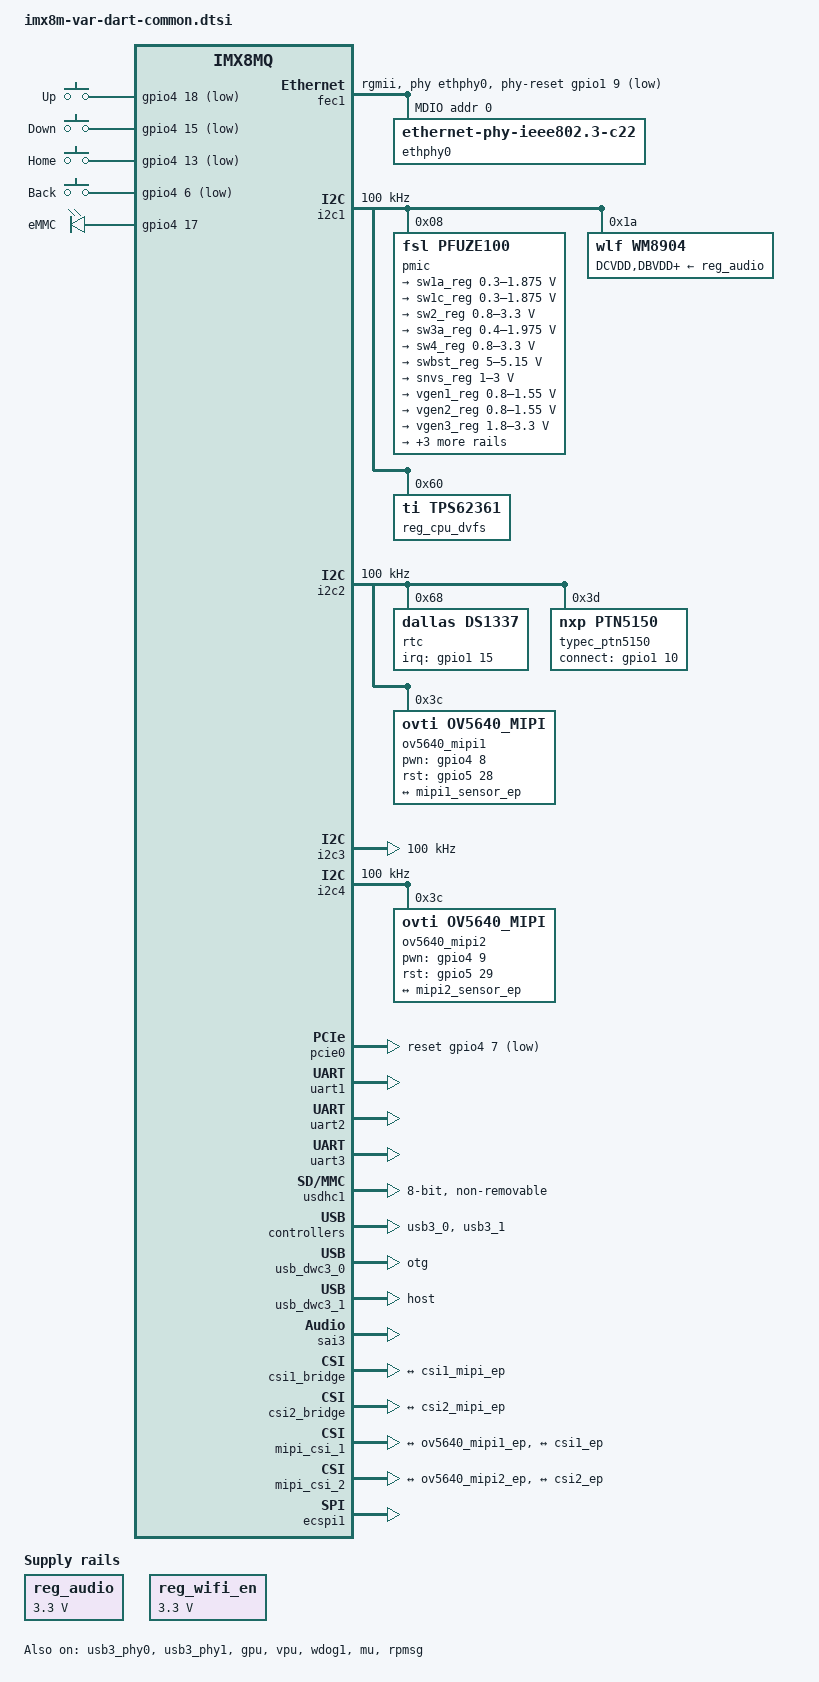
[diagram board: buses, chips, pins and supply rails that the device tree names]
/*
 * Copyright 2017 NXP
 * Copyright 2018-2019 Variscite Ltd.
 *
 * This program is free software; you can redistribute it and/or
 * modify it under the terms of the GNU General Public License
 * as published by the Free Software Foundation; either version 2
 * of the License, or (at your option) any later version.
 *
 * This program is distributed in the hope that it will be useful,
 * but WITHOUT ANY WARRANTY; without even the implied warranty of
 * MERCHANTABILITY or FITNESS FOR A PARTICULAR PURPOSE.  See the
 * GNU General Public License for more details.
 */

/dts-v1/;

#include "../freescale/fsl-imx8mq.dtsi"

/ {
	compatible = "variscite,imx8m-dart", "fsl,imx8mq";

	chosen {
		bootargs = "console=ttymxc0,115200 earlycon=ec_imx6q,0x30860000,115200";
		stdout-path = &uart1;
	};

	regulators {
		compatible = "simple-bus";
		#address-cells = <1>;
		#size-cells = <0>;

		reg_audio: audio_vdd {
			compatible = "regulator-fixed";
			regulator-name = "wm8904_supply";
			regulator-min-microvolt = <3300000>;
			regulator-max-microvolt = <3300000>;
			regulator-always-on;
		};

		reg_wifi_en: wifi_en {
			compatible = "regulator-fixed";
			regulator-name = "WIFI_REG_ON";
			regulator-min-microvolt = <3300000>;
			regulator-max-microvolt = <3300000>;
		};
	};

	sound-wm8904 {
		compatible = "fsl,imx-audio-wm8904";
		model = "imx-wm8904";
		audio-cpu = <&sai3>;
		audio-codec = <&wm8904>;
		audio-routing =
			"Headphone Jack", "HPOUTL",
			"Headphone Jack", "HPOUTR",
			"IN2L", "Line In Jack",
			"IN2R", "Line In Jack",
			"IN1L", "Mic Jack",
			"Playback", "CPU-Playback",
			"CPU-Capture", "Capture";
		status = "okay";
        };

	sound-hdmi {
		compatible = "fsl,imx8mq-evk-cdnhdmi",
				"fsl,imx-audio-cdnhdmi";
		model = "imx-audio-hdmi";
		audio-cpu = <&sai4>;
		protocol = <1>;
		hdmi-out;
		constraint-rate = <44100>,
				<88200>,
				<176400>,
				<32000>,
				<48000>,
				<96000>,
				<192000>;
		status = "disabled";
	};

	sound-spdif {
		compatible = "fsl,imx-audio-spdif";
		model = "imx-spdif";
		spdif-controller = <&spdif1>;
		spdif-out;
		spdif-in;
		status = "disabled";
	};

	sound-hdmi-arc {
		compatible = "fsl,imx-audio-spdif";
		model = "imx-hdmi-arc";
		spdif-controller = <&spdif2>;
		spdif-in;
		status = "disabled";
	};

        backlight: backlight {
                compatible = "pwm-backlight";
		pwms = <&pwm1 0 1000000 0>;
		brightness-levels = < 0  1  2  3  4  5  6  7  8  9
				     10 11 12 13 14 15 16 17 18 19
				     20 21 22 23 24 25 26 27 28 29
				     30 31 32 33 34 35 36 37 38 39
				     40 41 42 43 44 45 46 47 48 49
				     50 51 52 53 54 55 56 57 58 59
				     60 61 62 63 64 65 66 67 68 69
				     70 71 72 73 74 75 76 77 78 79
				     80 81 82 83 84 85 86 87 88 89
				     90 91 92 93 94 95 96 97 98 99
				    100>;
		default-brightness-level = <80>;
                status = "disabled";
        };

        gpio-keys {
                compatible = "gpio-keys";
                pinctrl-names = "default";
                pinctrl-0 = <&pinctrl_gpio_keys>;

                up {
                        label = "Up";
                        gpios = <&gpio4 18 GPIO_ACTIVE_LOW>;
                        linux,code = <KEY_UP>;
                };

                down {
                        label = "Down";
                        gpios = <&gpio4 15 GPIO_ACTIVE_LOW>;
                        linux,code = <KEY_DOWN>;
                };

                home {
                        label = "Home";
                        gpios = <&gpio4 13 GPIO_ACTIVE_LOW>;
                        linux,code = <KEY_HOME>;
                };

                back {
                        label = "Back";
                        gpios = <&gpio4 6 GPIO_ACTIVE_LOW>;
                        linux,code = <KEY_BACK>;
                };
        };

	leds {
		compatible = "gpio-leds";
		pinctrl-names = "default";
		pinctrl-0 = <&pinctrl_leds>;
	
		emmc {
			label = "eMMC";
			gpios = <&gpio4 17 GPIO_ACTIVE_HIGH>;
			linux,default-trigger = "mmc0";
		};
	};
};

&clk {
	assigned-clocks = <&clk IMX8MQ_AUDIO_PLL1>;
	assigned-clock-rates = <786432000>;
};

&iomuxc {
	pinctrl-names = "default";

	imx8m-var-dart {

		pinctrl_csi1: csi1grp {
			fsl,pins = <
				MX8MQ_IOMUXC_SAI1_RXD6_GPIO4_IO8		0x19
				MX8MQ_IOMUXC_UART4_RXD_GPIO5_IO28		0x19
			>;
		};

		pinctrl_csi2: csi2grp {
			fsl,pins = <
				MX8MQ_IOMUXC_SAI1_RXD7_GPIO4_IO9		0x19
				MX8MQ_IOMUXC_UART4_TXD_GPIO5_IO29		0x19
			>;
		};

		pinctrl_fec1: fec1grp {
			fsl,pins = <
				MX8MQ_IOMUXC_ENET_MDC_ENET1_MDC			0x3
				MX8MQ_IOMUXC_ENET_MDIO_ENET1_MDIO		0x23
				MX8MQ_IOMUXC_ENET_TD3_ENET1_RGMII_TD3		0x1f
				MX8MQ_IOMUXC_ENET_TD2_ENET1_RGMII_TD2		0x1f
				MX8MQ_IOMUXC_ENET_TD1_ENET1_RGMII_TD1		0x1f
				MX8MQ_IOMUXC_ENET_TD0_ENET1_RGMII_TD0		0x1f
				MX8MQ_IOMUXC_ENET_RD3_ENET1_RGMII_RD3		0x91
				MX8MQ_IOMUXC_ENET_RD2_ENET1_RGMII_RD2		0x91
				MX8MQ_IOMUXC_ENET_RD1_ENET1_RGMII_RD1		0x91
				MX8MQ_IOMUXC_ENET_RD0_ENET1_RGMII_RD0		0x91
				MX8MQ_IOMUXC_ENET_TXC_ENET1_RGMII_TXC		0x1f
				MX8MQ_IOMUXC_ENET_RXC_ENET1_RGMII_RXC		0x91
				MX8MQ_IOMUXC_ENET_RX_CTL_ENET1_RGMII_RX_CTL	0x91
				MX8MQ_IOMUXC_ENET_TX_CTL_ENET1_RGMII_TX_CTL	0x1f
				MX8MQ_IOMUXC_GPIO1_IO09_GPIO1_IO9		0x19
			>;
		};

		pinctrl_i2c1: i2c1grp {
			fsl,pins = <
				MX8MQ_IOMUXC_I2C1_SCL_I2C1_SCL			0x4000007f
				MX8MQ_IOMUXC_I2C1_SDA_I2C1_SDA			0x4000007f
			>;
		};

		pinctrl_i2c2: i2c2grp {
			fsl,pins = <
				MX8MQ_IOMUXC_I2C2_SCL_I2C2_SCL			0x4000007f
				MX8MQ_IOMUXC_I2C2_SDA_I2C2_SDA			0x4000007f
			>;
		};

		pinctrl_i2c3: i2c3grp {
			fsl,pins = <
				MX8MQ_IOMUXC_I2C3_SCL_I2C3_SCL			0x4000007f
				MX8MQ_IOMUXC_I2C3_SDA_I2C3_SDA			0x4000007f
			>;
		};

		pinctrl_i2c4: i2c4grp {
			fsl,pins = <
				MX8MQ_IOMUXC_I2C4_SCL_I2C4_SCL			0x4000007f
				MX8MQ_IOMUXC_I2C4_SDA_I2C4_SDA			0x4000007f
			>;
		};

		pinctrl_pcie0: pcie0grp {
			fsl,pins = <
				MX8MQ_IOMUXC_SAI1_RXD5_GPIO4_IO7		0x16
			>;
		};

		pinctrl_pcie1: pcie1grp {
			fsl,pins = <
				MX8MQ_IOMUXC_SAI1_TXD7_GPIO4_IO19		0x16
			>;
		};

		pinctrl_uart1: uart1grp {
			fsl,pins = <
				MX8MQ_IOMUXC_UART1_RXD_UART1_DCE_RX		0x49
				MX8MQ_IOMUXC_UART1_TXD_UART1_DCE_TX		0x49
			>;
		};

		pinctrl_uart2: uart2grp {
			fsl,pins = <
				MX8MQ_IOMUXC_UART2_RXD_UART2_DCE_RX		0x49
				MX8MQ_IOMUXC_UART2_TXD_UART2_DCE_TX		0x49
			>;
		};

		pinctrl_uart3: uart3grp {
			fsl,pins = <
				MX8MQ_IOMUXC_UART3_RXD_UART3_DCE_RX		0x49
				MX8MQ_IOMUXC_UART3_TXD_UART3_DCE_TX		0x49
			>;
		};

		pinctrl_uart4: uart4grp {
			fsl,pins = <
				MX8MQ_IOMUXC_ECSPI2_SCLK_UART4_DCE_RX           0xc1
				MX8MQ_IOMUXC_ECSPI2_MOSI_UART4_DCE_TX           0xc1
				MX8MQ_IOMUXC_ECSPI2_MISO_UART4_DCE_CTS_B        0xc1
				MX8MQ_IOMUXC_ECSPI2_SS0_UART4_DCE_RTS_B         0xc1
			>;
		};

		pinctrl_usdhc1: usdhc1grp {
			fsl,pins = <
				MX8MQ_IOMUXC_SD1_CLK_USDHC1_CLK			0x83
				MX8MQ_IOMUXC_SD1_CMD_USDHC1_CMD			0xc3
				MX8MQ_IOMUXC_SD1_DATA0_USDHC1_DATA0		0xc3
				MX8MQ_IOMUXC_SD1_DATA1_USDHC1_DATA1		0xc3
				MX8MQ_IOMUXC_SD1_DATA2_USDHC1_DATA2		0xc3
				MX8MQ_IOMUXC_SD1_DATA3_USDHC1_DATA3		0xc3
				MX8MQ_IOMUXC_SD1_DATA4_USDHC1_DATA4		0xc3
				MX8MQ_IOMUXC_SD1_DATA5_USDHC1_DATA5		0xc3
				MX8MQ_IOMUXC_SD1_DATA6_USDHC1_DATA6		0xc3
				MX8MQ_IOMUXC_SD1_DATA7_USDHC1_DATA7		0xc3
				MX8MQ_IOMUXC_SD1_STROBE_USDHC1_STROBE		0x83
				MX8MQ_IOMUXC_SD1_RESET_B_USDHC1_RESET_B		0xc1
			>;
		};

		pinctrl_usdhc1_100mhz: usdhc1grp100mhz {
			fsl,pins = <
				MX8MQ_IOMUXC_SD1_CLK_USDHC1_CLK			0x8d
				MX8MQ_IOMUXC_SD1_CMD_USDHC1_CMD			0xcd
				MX8MQ_IOMUXC_SD1_DATA0_USDHC1_DATA0		0xcd
				MX8MQ_IOMUXC_SD1_DATA1_USDHC1_DATA1		0xcd
				MX8MQ_IOMUXC_SD1_DATA2_USDHC1_DATA2		0xcd
				MX8MQ_IOMUXC_SD1_DATA3_USDHC1_DATA3		0xcd
				MX8MQ_IOMUXC_SD1_DATA4_USDHC1_DATA4		0xcd
				MX8MQ_IOMUXC_SD1_DATA5_USDHC1_DATA5		0xcd
				MX8MQ_IOMUXC_SD1_DATA6_USDHC1_DATA6		0xcd
				MX8MQ_IOMUXC_SD1_DATA7_USDHC1_DATA7		0xcd
				MX8MQ_IOMUXC_SD1_STROBE_USDHC1_STROBE		0x8d
				MX8MQ_IOMUXC_SD1_RESET_B_USDHC1_RESET_B		0xc1
			>;
		};

		pinctrl_usdhc1_200mhz: usdhc1grp200mhz {
			fsl,pins = <
				MX8MQ_IOMUXC_SD1_CLK_USDHC1_CLK			0x9f
				MX8MQ_IOMUXC_SD1_CMD_USDHC1_CMD			0xdf
				MX8MQ_IOMUXC_SD1_DATA0_USDHC1_DATA0		0xdf
				MX8MQ_IOMUXC_SD1_DATA1_USDHC1_DATA1		0xdf
				MX8MQ_IOMUXC_SD1_DATA2_USDHC1_DATA2		0xdf
				MX8MQ_IOMUXC_SD1_DATA3_USDHC1_DATA3		0xdf
				MX8MQ_IOMUXC_SD1_DATA4_USDHC1_DATA4		0xdf
				MX8MQ_IOMUXC_SD1_DATA5_USDHC1_DATA5		0xdf
				MX8MQ_IOMUXC_SD1_DATA6_USDHC1_DATA6		0xdf
				MX8MQ_IOMUXC_SD1_DATA7_USDHC1_DATA7		0xdf
				MX8MQ_IOMUXC_SD1_STROBE_USDHC1_STROBE		0x9f
				MX8MQ_IOMUXC_SD1_RESET_B_USDHC1_RESET_B		0xc1
			>;
		};

		pinctrl_usdhc2_sd: usdhc2grpsd {
			fsl,pins = <
				MX8MQ_IOMUXC_SD2_CD_B_GPIO2_IO12		0x41
				MX8MQ_IOMUXC_SD2_RESET_B_GPIO2_IO19		0x41
			>;
		};

		pinctrl_usdhc2: usdhc2grp {
			fsl,pins = <
				MX8MQ_IOMUXC_SD2_CLK_USDHC2_CLK			0x83
				MX8MQ_IOMUXC_SD2_CMD_USDHC2_CMD			0xc3
				MX8MQ_IOMUXC_SD2_DATA0_USDHC2_DATA0		0xc3
				MX8MQ_IOMUXC_SD2_DATA1_USDHC2_DATA1		0xc3
				MX8MQ_IOMUXC_SD2_DATA2_USDHC2_DATA2		0xc3
				MX8MQ_IOMUXC_SD2_DATA3_USDHC2_DATA3		0xc3
			>;
		};

		pinctrl_usdhc2_100mhz: usdhc2grp100mhz {
			fsl,pins = <
				MX8MQ_IOMUXC_SD2_CLK_USDHC2_CLK			0x8d
				MX8MQ_IOMUXC_SD2_CMD_USDHC2_CMD			0xcd
				MX8MQ_IOMUXC_SD2_DATA0_USDHC2_DATA0		0xcd
				MX8MQ_IOMUXC_SD2_DATA1_USDHC2_DATA1		0xcd
				MX8MQ_IOMUXC_SD2_DATA2_USDHC2_DATA2		0xcd
				MX8MQ_IOMUXC_SD2_DATA3_USDHC2_DATA3		0xcd
			>;
		};

		pinctrl_usdhc2_200mhz: usdhc2grp200mhz {
			fsl,pins = <
				MX8MQ_IOMUXC_SD2_CLK_USDHC2_CLK			0x9f
				MX8MQ_IOMUXC_SD2_CMD_USDHC2_CMD			0xdf
				MX8MQ_IOMUXC_SD2_DATA0_USDHC2_DATA0		0xdf
				MX8MQ_IOMUXC_SD2_DATA1_USDHC2_DATA1		0xdf
				MX8MQ_IOMUXC_SD2_DATA2_USDHC2_DATA2		0xdf
				MX8MQ_IOMUXC_SD2_DATA3_USDHC2_DATA3		0xdf
			>;
		};

		pinctrl_usdhc2_vsel: usdhc2grpvsel {
			fsl,pins = <
				MX8MQ_IOMUXC_GPIO1_IO04_USDHC2_VSELECT		0xc1
			>;
		};

		pinctrl_sai3: sai3grp {
			fsl,pins = <
				MX8MQ_IOMUXC_SAI3_RXFS_SAI3_RX_SYNC             0xd6
				MX8MQ_IOMUXC_SAI3_RXC_SAI3_RX_BCLK              0xd6
				MX8MQ_IOMUXC_SAI3_RXD_SAI3_RX_DATA0             0xd6
				MX8MQ_IOMUXC_SAI3_TXFS_SAI3_TX_SYNC             0xd6
				MX8MQ_IOMUXC_SAI3_TXC_SAI3_TX_BCLK              0xd6
				MX8MQ_IOMUXC_SAI3_TXD_SAI3_TX_DATA0             0xd6
				MX8MQ_IOMUXC_SAI3_MCLK_SAI3_MCLK                0xd6
			>;
		};

		pinctrl_spdif1: spdif1grp {
			fsl,pins = <
				MX8MQ_IOMUXC_SPDIF_TX_SPDIF1_OUT		0xd6
				MX8MQ_IOMUXC_SPDIF_RX_SPDIF1_IN			0xd6
			>;
		};

		pinctrl_wdog: wdoggrp {
			fsl,pins = <
				MX8MQ_IOMUXC_GPIO1_IO02_WDOG1_WDOG_B 		0xc6
			>;
		};

		pinctrl_pwm1: pwm1grp {
			fsl,pins = <
				MX8MQ_IOMUXC_GPIO1_IO01_PWM1_OUT 		0x06
			>;
		};

		pinctrl_captouch: captouchgrp {
			fsl,pins = <
				MX8MQ_IOMUXC_SAI1_RXD3_GPIO4_IO5 		0x16
				MX8MQ_IOMUXC_GPIO1_IO14_GPIO1_IO14		0x16
			>;
		};

		pinctrl_rtc: rtcgrp {
			fsl,pins = <
				MX8MQ_IOMUXC_GPIO1_IO15_GPIO1_IO15 		0xc1
			>;
		};

		pinctrl_gpio_keys: keygrp {
			fsl,pins = <
				MX8MQ_IOMUXC_SAI1_TXD3_GPIO4_IO15		0xc6
				MX8MQ_IOMUXC_SAI1_TXD6_GPIO4_IO18		0xc6
				MX8MQ_IOMUXC_SAI1_TXD1_GPIO4_IO13		0xc6
				MX8MQ_IOMUXC_SAI1_RXD4_GPIO4_IO6		0xc6
			>;
		};

		pinctrl_leds: ledgrp {
			fsl,pins = <
				MX8MQ_IOMUXC_SAI1_RXD1_GPIO4_IO3		0xc6
				MX8MQ_IOMUXC_SAI1_TXD2_GPIO4_IO14		0xc6
				MX8MQ_IOMUXC_SAI1_RXD2_GPIO4_IO4		0xc6
				MX8MQ_IOMUXC_SAI1_TXD5_GPIO4_IO17		0xc6
			>;
		};

		pinctrl_wifi: wifigrp {
			fsl,pins = <
				MX8MQ_IOMUXC_GPIO1_IO04_GPIO1_IO4		0xc1    /* WIFI_PWR_VSEL */
				MX8MQ_IOMUXC_GPIO1_IO08_GPIO1_IO8		0xc1    /* WIFI_PWR_ON   */
				MX8MQ_IOMUXC_NAND_CE1_B_GPIO3_IO2		0xc1    /* WIFI_REG_ON   */
				MX8MQ_IOMUXC_GPIO1_IO00_ANAMIX_REF_CLK_32K      0xc1    /* WIFI_CLK_32K  */
				MX8MQ_IOMUXC_NAND_CE3_B_GPIO3_IO4               0xc1    /* BT_REG_ON     */
				MX8MQ_IOMUXC_SPDIF_EXT_CLK_GPIO5_IO5            0xc1    /* BT_BUF_EN     */
			>;
		};

		pinctrl_ethphy: ethphygrp {
			fsl,pins = <
				MX8MQ_IOMUXC_GPIO1_IO08_GPIO1_IO8		0xc1
			>;
		};

		pinctrl_ecspi1: ecspi1grp {
			fsl,pins = <
				MX8MQ_IOMUXC_ECSPI1_SCLK_ECSPI1_SCLK		0x11
				MX8MQ_IOMUXC_ECSPI1_MOSI_ECSPI1_MOSI		0x11
				MX8MQ_IOMUXC_ECSPI1_MISO_ECSPI1_MISO		0x11
				MX8MQ_IOMUXC_ECSPI1_SS0_GPIO5_IO9		0x11
			>;
		};

		pinctrl_restouch: restouchgrp {
			fsl,pins = <
				MX8MQ_IOMUXC_GPIO1_IO03_GPIO1_IO3		0xc0
			>;
		};

		pinctrl_typec: typecgrp {
			fsl,pins = <
				MX8MQ_IOMUXC_GPIO1_IO10_GPIO1_IO10		0x16
			>;
		};

		pinctrl_lvds: lvdsgrp {
			fsl,pins = <
				MX8MQ_IOMUXC_GPIO1_IO11_GPIO1_IO11		0x16
			>;
		};

		pinctrl_hdmi: hdmigrp {
			fsl,pins = <
				MX8MQ_IOMUXC_GPIO1_IO05_GPIO1_IO5		0xc1
			>;
		};
	};
};

&fec1 {
	phy-mode = "rgmii";
	phy-handle = <&ethphy0>;
	fsl,magic-packet;
	status = "okay";
	phy-reset-gpios = <&gpio1 9 GPIO_ACTIVE_LOW>;
	phy-reset-duration = <10>;

	mdio {
		#address-cells = <1>;
		#size-cells = <0>;

		ethphy0: ethernet-phy@0 {
			compatible = "ethernet-phy-ieee802.3-c22";
			reg = <0>;
			at803x,led-act-blind-workaround;
			at803x,eee-disabled;
		};
	};
};

&i2c1 {
	clock-frequency = <100000>;
	pinctrl-names = "default";
	pinctrl-0 = <&pinctrl_i2c1>;
	status = "okay";

	pmic: pfuze100@08 {
		compatible = "fsl,pfuze100";
		reg = <0x08>;

		regulators {
			sw1a_reg: sw1ab {
				regulator-min-microvolt = <300000>;
				regulator-max-microvolt = <1875000>;
			};

			sw1c_reg: sw1c {
				regulator-min-microvolt = <300000>;
				regulator-max-microvolt = <1875000>;
			};

			sw2_reg: sw2 {
				regulator-min-microvolt = <800000>;
				regulator-max-microvolt = <3300000>;
				regulator-always-on;
			};

			sw3a_reg: sw3ab {
				regulator-min-microvolt = <400000>;
				regulator-max-microvolt = <1975000>;
				regulator-always-on;
			};

			sw4_reg: sw4 {
				regulator-min-microvolt = <800000>;
				regulator-max-microvolt = <3300000>;
				regulator-always-on;
			};

			swbst_reg: swbst {
				regulator-min-microvolt = <5000000>;
				regulator-max-microvolt = <5150000>;
			};

			snvs_reg: vsnvs {
				regulator-min-microvolt = <1000000>;
				regulator-max-microvolt = <3000000>;
				regulator-always-on;
			};

			vref_reg: vrefddr {
				regulator-always-on;
			};

			vgen1_reg: vgen1 {
				regulator-min-microvolt = <800000>;
				regulator-max-microvolt = <1550000>;
			};

			vgen2_reg: vgen2 {
				regulator-min-microvolt = <800000>;
				regulator-max-microvolt = <1550000>;
				regulator-always-on;
			};

			vgen3_reg: vgen3 {
				regulator-min-microvolt = <1800000>;
				regulator-max-microvolt = <3300000>;
				regulator-always-on;
			};

			vgen4_reg: vgen4 {
				regulator-min-microvolt = <1800000>;
				regulator-max-microvolt = <3300000>;
				regulator-always-on;
			};

			vgen5_reg: vgen5 {
				regulator-min-microvolt = <1800000>;
				regulator-max-microvolt = <3300000>;
				regulator-always-on;
			};

			vgen6_reg: vgen6 {
				regulator-min-microvolt = <1800000>;
				regulator-max-microvolt = <3300000>;
			};
		};
	};

	wm8904: codec@1a {
		compatible = "wlf,wm8904";
		reg = <0x1a>;
		clocks = <&clk IMX8MQ_CLK_SAI3_ROOT>;
		clock-names = "mclk";
		DCVDD-supply = <&reg_audio>;
		DBVDD-supply = <&reg_audio>;
		AVDD-supply = <&reg_audio>;
		CPVDD-supply = <&reg_audio>;
		MICVDD-supply = <&reg_audio>;
		gpio-cfg = <
			0x0018 /* GPIO1 => DMIC_CLK */
			0xffff /* GPIO2 => don't touch */
			0xffff /* GPIO3 => don't touch */
			0xffff /* GPIO4 => don't touch */
		>;
		status = "okay";
	};

	dsi_lvds_bridge: sn65dsi84@2c {
		compatible = "ti,sn65dsi83";
		reg = <0x2c>;
		ti,dsi-lanes = <4>;
		ti,lvds-format = <1>;
		ti,lvds-bpp = <24>;
		ti,width-mm = <154>;
		ti,height-mm = <87>;
		enable-gpios = <&gpio1 11 GPIO_ACTIVE_HIGH>;
		pinctrl-names = "default";
		pinctrl-0 = <&pinctrl_lvds>;
		status = "disabled";

		display-timings {
			lvds {
				clock-frequency = <33000000>;
				hactive = <800>;
				vactive = <480>;
				hback-porch = <40>;
				hfront-porch = <40>;
				vback-porch = <29>;
				vfront-porch = <13>;
				hsync-len = <48>;
				vsync-len = <3>;
				hsync-active = <0>;
				vsync-active = <0>;
				de-active = <1>;
				pixelclk-active = <0>;
			};
		};

		port {
			sn65dsi84_in: endpoint {
				remote-endpoint = <&mipi_dsi_bridge_out>;
			};
		};
	};

	reg_cpu_dvfs: tps62361@60 {
		reg = <0x60>;
		compatible = "ti,tps62361";
		regulator-min-microvolt = <900000>;
		regulator-max-microvolt = <1000000>;
		regulator-name = "arm-supply";
		regulator-boot-on;
		regulator-always-on;
		ti,enable-force-pwm;
	};
};

&i2c2 {
	clock-frequency = <100000>;
	pinctrl-names = "default";
	pinctrl-0 = <&pinctrl_i2c2>;
	status = "okay";

        /* DS1337 RTC module */
	rtc@0x68 {
		status = "okay";
		compatible = "dallas,ds1337";
		reg = <0x68>;
		pinctrl-names = "default";
		pinctrl-0 = <&pinctrl_rtc>;
		interrupt-parent = <&gpio1>;
		interrupts = <15 IRQ_TYPE_EDGE_FALLING>;
        };

	/* Capacitive touch controller */
	ft5x06_ts: ft5x06_ts@38 {
		status = "disabled";
		compatible = "edt,edt-ft5x06";
		reg = <0x38>;
		reset-gpios = <&gpio4 5 GPIO_ACTIVE_LOW>;
		pinctrl-names = "default";
		pinctrl-0 = <&pinctrl_captouch>;
		interrupt-parent = <&gpio1>;
		interrupts = <14 0>;
		touchscreen-size-x = <800>;
		touchscreen-size-y = <480>;
		touchscreen-inverted-x;
		touchscreen-inverted-y;
        };

	/* USB-C controller */
	typec_ptn5150: typec@3d {
		status = "okay";
		compatible = "nxp,ptn5150";
		reg = <0x3d>;
		pinctrl-names = "default";
		pinctrl-0 = <&pinctrl_typec>;
		connect-gpios = <&gpio1 10 GPIO_ACTIVE_HIGH>;
	};

	ov5640_mipi1: ov5640_mipi1@3c {
		status = "okay";
		compatible = "ovti,ov5640_mipi";
		reg = <0x3c>;
		pinctrl-names = "default";
		pinctrl-0 = <&pinctrl_csi1>;
		clocks = <&clk IMX8MQ_CLK_CLKO2>;
		clock-names = "csi_mclk";
/* Disabled CLKO2, since DART-MX8M camera expansion board uses
 * its own oscillator. Enable CLK02 if your desing requres it
 */
#if 0
		assigned-clocks = <&clk IMX8MQ_CLK_CLKO2>;
		assigned-clock-parents = <&clk IMX8MQ_SYS2_PLL_200M>;
		assigned-clock-rates = <24000000>;
#endif
		csi_id = <0>;
		pwn-gpios = <&gpio4 8 GPIO_ACTIVE_HIGH>;
		rst-gpios = <&gpio5 28 GPIO_ACTIVE_HIGH>;
		mclk = <24000000>;
		mclk_source = <0>;
		port {
			ov5640_mipi1_ep: endpoint {
				remote-endpoint = <&mipi1_sensor_ep>;
			};
		};
	};
};

&i2c3 {
	clock-frequency = <100000>;
	pinctrl-names = "default";
	pinctrl-0 = <&pinctrl_i2c3>;
	status = "okay";
};

&i2c4 {
	clock-frequency = <100000>;
	pinctrl-names = "default";
	pinctrl-0 = <&pinctrl_i2c4>;
	status = "okay";

	ov5640_mipi2: ov5640_mipi2@3c {
		status = "okay";
		compatible = "ovti,ov5640_mipi";
		reg = <0x3c>;
		pinctrl-names = "default";
		pinctrl-0 = <&pinctrl_csi2>;

		clocks = <&clk IMX8MQ_CLK_CLKO2>;
		clock-names = "csi_mclk";
/* Disabled CLKO2, since DART-MX8M camera expansion board uses
 * its own oscillator. Enable CLK02 if your desing requres it
 */
#if 0
		assigned-clocks = <&clk IMX8MQ_CLK_CLKO2>;
		assigned-clock-parents = <&clk IMX8MQ_SYS2_PLL_200M>;
		assigned-clock-rates = <24000000>;
#endif
		csi_id = <1>;
		pwn-gpios = <&gpio4 9 GPIO_ACTIVE_HIGH>;
		rst-gpios = <&gpio5 29 GPIO_ACTIVE_HIGH>;
		mclk = <24000000>;
		mclk_source = <0>;
		port {
			ov5640_mipi2_ep: endpoint {
				remote-endpoint = <&mipi2_sensor_ep>;
			};
		};
	};
};

&pcie0 {
	pinctrl-names = "default";
	pinctrl-0 = <&pinctrl_pcie0>;
	reset-gpio = <&gpio4 7 GPIO_ACTIVE_LOW>;
	ext_osc = <1>;
	status = "okay";
};

&pcie1 {
	pinctrl-names = "default";
	pinctrl-0 = <&pinctrl_pcie1>;
	reset-gpio = <&gpio4 19 GPIO_ACTIVE_LOW>;
	ext_osc = <1>;
	status = "disabled";
};

/* Console */
&uart1 {
	pinctrl-names = "default";
	pinctrl-0 = <&pinctrl_uart1>;
	assigned-clocks = <&clk IMX8MQ_CLK_UART1>;
	assigned-clock-parents = <&clk IMX8MQ_CLK_25M>;
	status = "okay";
};

/* Header */
&uart2 {
	pinctrl-names = "default";
	pinctrl-0 = <&pinctrl_uart2>;
	assigned-clocks = <&clk IMX8MQ_CLK_UART2>;
	assigned-clock-parents = <&clk IMX8MQ_CLK_25M>;
	status = "okay";
};

/* Header */
&uart3 {
	pinctrl-names = "default";
	pinctrl-0 = <&pinctrl_uart3>;
	assigned-clocks = <&clk IMX8MQ_CLK_UART3>;
	assigned-clock-parents = <&clk IMX8MQ_CLK_25M>;
	status = "okay";
};

/* Bluetooth */
&uart4 {
	pinctrl-names = "default";
	pinctrl-0 = <&pinctrl_uart4>;
	assigned-clocks = <&clk IMX8MQ_CLK_UART4>;
	assigned-clock-parents = <&clk IMX8MQ_SYS1_PLL_80M>;
	fsl,uart-has-rtscts;
	status = "disabled";
};

/* eMMC */
&usdhc1 {
	pinctrl-names = "default", "state_100mhz", "state_200mhz";
	pinctrl-0 = <&pinctrl_usdhc1>;
	pinctrl-1 = <&pinctrl_usdhc1_100mhz>;
	pinctrl-2 = <&pinctrl_usdhc1_200mhz>;
	bus-width = <8>;
	non-removable;
	status = "okay";
};

&usb3_phy0 {
	status = "okay";
};

&usb3_0 {
	status = "okay";
};

&usb_dwc3_0 {
	status = "okay";
	extcon = <&typec_ptn5150>;
	dr_mode = "otg";
};

&usb3_phy1 {
	status = "okay";
};

&usb3_1 {
	status = "okay";
};

&usb_dwc3_1 {
	status = "okay";
	dr_mode = "host";
};

&sai3 {
	pinctrl-names = "default";
	pinctrl-0 = <&pinctrl_sai3>;
	assigned-clocks = <&clk IMX8MQ_CLK_SAI3>;
	assigned-clock-parents = <&clk IMX8MQ_AUDIO_PLL1_OUT>;
	assigned-clock-rates = <1536000>;
	status = "okay";
};

&sai4 {
	assigned-clocks = <&clk IMX8MQ_CLK_SAI4>;
	assigned-clock-parents = <&clk IMX8MQ_AUDIO_PLL1_OUT>;
	assigned-clock-rates = <24576000>;
	status = "disabled";
};

&spdif1 {
	pinctrl-names = "default";
	pinctrl-0 = <&pinctrl_spdif1>;
	assigned-clocks = <&clk IMX8MQ_CLK_SPDIF1>;
	assigned-clock-parents = <&clk IMX8MQ_AUDIO_PLL1_OUT>;
	assigned-clock-rates = <24576000>;
	status = "disabled";
};

&spdif2 {
	assigned-clocks = <&clk IMX8MQ_CLK_SPDIF2>;
	assigned-clock-parents = <&clk IMX8MQ_AUDIO_PLL1_OUT>;
	assigned-clock-rates = <24576000>;
	status = "disabled";
};

&gpu_pd {
	power-supply = <&sw1a_reg>;
};

&vpu_pd {
	power-supply = <&sw1c_reg>;
};

&gpu {
	status = "okay";
};

&vpu {
	status = "okay";
};

&wdog1 {
	pinctrl-names = "default";
	pinctrl-0 = <&pinctrl_wdog>;
	fsl,wdog_b;
	status = "okay";
};

&mu {
	status = "okay";
};

&rpmsg{
	/*
	 * 64K for one rpmsg instance:
	 * --0xb8000000~0xb800ffff: pingpong
	 */
	vdev-nums = <1>;
	reg = <0x0 0xb8000000 0x0 0x10000>;
	status = "okay";
};

&A53_0 {
	operating-points = <
		/* kHz    uV */
		1500000 1000000
		1300000 1000000
		1000000 900000
		800000  900000
	>;
	dc-supply = <&reg_cpu_dvfs>;
};

&csi1_bridge {
	fsl,mipi-mode;
	fsl,two-8bit-sensor-mode;
	status = "okay";

	port {
		csi1_ep: endpoint {
			remote-endpoint = <&csi1_mipi_ep>;
		};
	};
};

&csi2_bridge {
	fsl,mipi-mode;
	fsl,two-8bit-sensor-mode;
	status = "okay";

	port {
		csi2_ep: endpoint {
			remote-endpoint = <&csi2_mipi_ep>;
		};
	};
};

&mipi_csi_1 {
	#address-cells = <1>;
	#size-cells = <0>;
	status = "okay";
	port {
		mipi1_sensor_ep: endpoint1 {
			remote-endpoint = <&ov5640_mipi1_ep>;
			data-lanes = <1 2>;
		};

		csi1_mipi_ep: endpoint2 {
			remote-endpoint = <&csi1_ep>;
		};
	};
};

&mipi_csi_2 {
	#address-cells = <1>;
	#size-cells = <0>;
	status = "okay";
	port {
		mipi2_sensor_ep: endpoint1 {
			remote-endpoint = <&ov5640_mipi2_ep>;
			data-lanes = <1 2>;
		};

		csi2_mipi_ep: endpoint2 {
			remote-endpoint = <&csi2_ep>;
		};
	};
};

&mipi_dsi {
	status = "disabled";
	assigned-clocks = <&clk IMX8MQ_CLK_DSI_PHY_REF>,
			  <&clk IMX8MQ_CLK_DSI_CORE>,
			  <&clk IMX8MQ_VIDEO_PLL1_REF_SEL>,
			  <&clk IMX8MQ_VIDEO_PLL1>;
	assigned-clock-parents = <&clk IMX8MQ_VIDEO_PLL1_OUT>,
				 <&clk IMX8MQ_SYS1_PLL_266M>,
				 <&clk IMX8MQ_CLK_25M>;
	assigned-clock-rates = <24000000>,
			       <266000000>,
			       <0>,
			       <599999999>;
};

&mipi_dsi_bridge {
	status = "disabled";

	port@1 {
		mipi_dsi_bridge_out: endpoint {
			remote-endpoint = <&sn65dsi84_in>;
		};
	};
};

&ecspi1 {
	pinctrl-names = "default";
	pinctrl-0 = <&pinctrl_ecspi1>;
	cs-gpios = <&gpio5 9 0>;
	fsl,spi-num-chipselects = <1>;
	status = "okay";

	/* Resistive touch controller */
	ads7846@0 {
		reg = <0>;
		compatible = "ti,ads7846";
		pinctrl-names = "default";
		pinctrl-0 = <&pinctrl_restouch>;
		interrupt-parent = <&gpio1>;
		interrupts = <3 IRQ_TYPE_EDGE_FALLING>;
		spi-max-frequency = <1500000>;
		pendown-gpio = <&gpio1 3 GPIO_ACTIVE_LOW>;
		ti,x-min = /bits/ 16 <125>;
		ti,x-max = /bits/ 16 <4008>;
		ti,y-min = /bits/ 16 <282>;
		ti,y-max = /bits/ 16 <3864>;
		ti,x-plate-ohms = /bits/ 16 <180>;
		ti,pressure-max = /bits/ 16 <255>;
		ti,debounce-max = /bits/ 16 <10>;
		ti,debounce-tol = /bits/ 16 <3>;
		ti,debounce-rep = /bits/ 16 <1>;
		ti,settle-delay-usec = /bits/ 16 <150>;
		ti,keep-vref-on;
		wakeup-source;
		status = "disabled";
        };
};

&pwm1 {
	pinctrl-names = "default";
	pinctrl-0 = <&pinctrl_pwm1>;
};

&snvs_rtc {
	status = "disabled";
};

